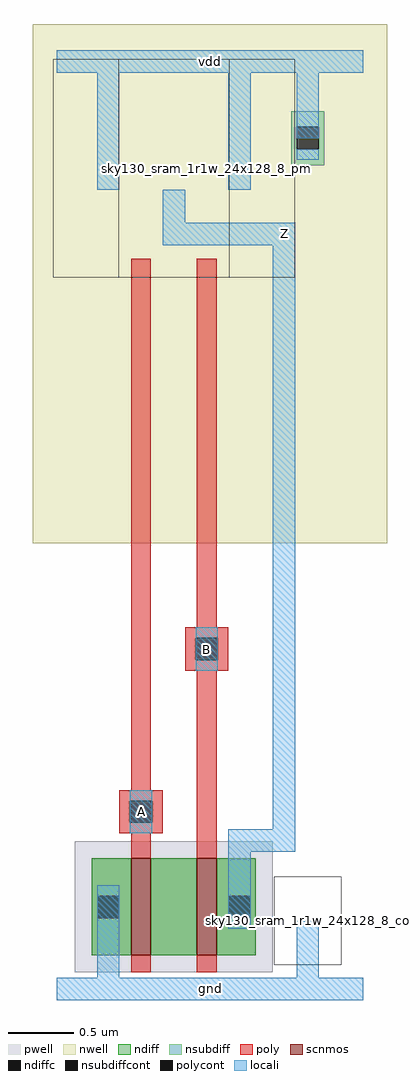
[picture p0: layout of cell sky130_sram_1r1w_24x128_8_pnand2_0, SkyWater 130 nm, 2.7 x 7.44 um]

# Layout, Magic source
magic
tech sky130B
magscale 1 2
<< nwell >>
rect -36 679 504 1471
<< poly >>
rect 114 225 144 1113
rect 214 225 244 1113
<< locali >>
rect 0 1397 468 1431
rect 62 1218 96 1397
rect 262 1218 296 1397
rect 366 1297 400 1397
rect 162 1168 196 1218
rect 162 1134 364 1168
rect 212 485 246 551
rect 112 237 146 303
rect 330 243 364 1134
rect 262 209 364 243
rect 262 158 296 209
rect 62 17 96 92
rect 366 17 400 104
rect 0 -17 468 17
use sky130_sram_1r1w_24x128_8_contact_15  sky130_sram_1r1w_24x128_8_contact_15_0
transform 1 0 196 0 1 485
box 0 0 66 66
use sky130_sram_1r1w_24x128_8_contact_15  sky130_sram_1r1w_24x128_8_contact_15_1
transform 1 0 96 0 1 237
box 0 0 66 66
use sky130_sram_1r1w_24x128_8_contact_28  sky130_sram_1r1w_24x128_8_contact_28_0
transform 1 0 358 0 1 1256
box -59 -43 109 125
use sky130_sram_1r1w_24x128_8_contact_29  sky130_sram_1r1w_24x128_8_contact_29_0
transform 1 0 358 0 1 63
box -26 -26 76 108
use sky130_sram_1r1w_24x128_8_nmos_m1_w0_740_sactive_dli  sky130_sram_1r1w_24x128_8_nmos_m1_w0_740_sactive_dli_0
transform 1 0 154 0 1 51
box -26 -26 176 174
use sky130_sram_1r1w_24x128_8_nmos_m1_w0_740_sli_dactive  sky130_sram_1r1w_24x128_8_nmos_m1_w0_740_sli_dactive_0
transform 1 0 54 0 1 51
box -26 -26 176 174
use sky130_sram_1r1w_24x128_8_pmos_m1_w1_120_sli_dli  sky130_sram_1r1w_24x128_8_pmos_m1_w1_120_sli_dli_0
transform 1 0 154 0 1 1139
box -59 -54 209 278
use sky130_sram_1r1w_24x128_8_pmos_m1_w1_120_sli_dli  sky130_sram_1r1w_24x128_8_pmos_m1_w1_120_sli_dli_1
transform 1 0 54 0 1 1139
box -59 -54 209 278
<< labels >>
rlabel locali s 347 1151 347 1151 4 Z
port 1 nsew
rlabel locali s 234 0 234 0 4 gnd
port 2 nsew
rlabel locali s 234 1414 234 1414 4 vdd
port 3 nsew
rlabel locali s 129 270 129 270 4 A
port 4 nsew
rlabel locali s 229 518 229 518 4 B
port 5 nsew
<< properties >>
string FIXED_BBOX 0 0 468 1414
<< end >>

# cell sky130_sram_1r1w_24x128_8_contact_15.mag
magic
tech sky130B
<< poly >>
rect 0 25 33 33
rect 0 8 8 25
rect 25 8 33 25
rect 0 0 33 8
<< polycont >>
rect 8 8 25 25
<< locali >>
rect 8 25 25 33
rect 8 0 25 8
<< properties >>
string FIXED_BBOX -10 -10 43 43
<< end >>

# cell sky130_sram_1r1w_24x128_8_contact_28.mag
magic
tech sky130B
magscale 1 2
<< nwell >>
rect -59 -43 109 125
<< nsubdiff >>
rect 0 58 50 82
rect 0 24 8 58
rect 42 24 50 58
rect 0 0 50 24
<< nsubdiffcont >>
rect 8 24 42 58
<< locali >>
rect 8 58 42 74
rect 8 8 42 24
<< properties >>
string FIXED_BBOX -59 -43 109 125
<< end >>

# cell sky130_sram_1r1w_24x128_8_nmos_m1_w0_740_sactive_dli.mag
magic
tech sky130B
magscale 1 2
<< pwell >>
rect -26 -26 176 174
<< scnmos >>
rect 60 0 90 148
<< ndiff >>
rect 0 0 60 148
rect 90 0 150 148
<< poly >>
rect 60 148 90 174
rect 60 -26 90 0
<< locali >>
rect 108 41 142 107
use sky130_sram_1r1w_24x128_8_contact_10  sky130_sram_1r1w_24x128_8_contact_10_0
transform 1 0 100 0 1 41
box -26 -22 76 88
<< labels >>
rlabel poly s 75 74 75 74 4 G
port 1 nsew
rlabel mvpsubdiff s 25 74 25 74 4 S
rlabel locali s 125 74 125 74 4 D
port 2 nsew
<< properties >>
string FIXED_BBOX -25 -26 175 174
<< end >>

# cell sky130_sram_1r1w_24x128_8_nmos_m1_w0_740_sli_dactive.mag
magic
tech sky130B
magscale 1 2
<< pwell >>
rect -26 -26 176 174
<< scnmos >>
rect 60 0 90 148
<< ndiff >>
rect 0 0 60 148
rect 90 0 150 148
<< poly >>
rect 60 148 90 174
rect 60 -26 90 0
<< locali >>
rect 8 41 42 107
use sky130_sram_1r1w_24x128_8_contact_10  sky130_sram_1r1w_24x128_8_contact_10_0
transform 1 0 0 0 1 41
box -26 -22 76 88
<< labels >>
rlabel poly s 75 74 75 74 4 G
port 1 nsew
rlabel locali s 25 74 25 74 4 S
port 2 nsew
rlabel mvpsubdiff s 125 74 125 74 4 D
<< properties >>
string FIXED_BBOX -25 -26 175 174
<< end >>

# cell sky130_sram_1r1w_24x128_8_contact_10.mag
magic
tech sky130B
<< pwell >>
rect -13 -11 38 44
<< ndiff >>
rect 0 25 25 31
rect 0 8 4 25
rect 21 8 25 25
rect 0 2 25 8
<< ndiffc >>
rect 4 8 21 25
<< locali >>
rect 4 25 21 33
rect 4 0 21 8
<< properties >>
string FIXED_BBOX -12 -10 37 43
<< end >>
